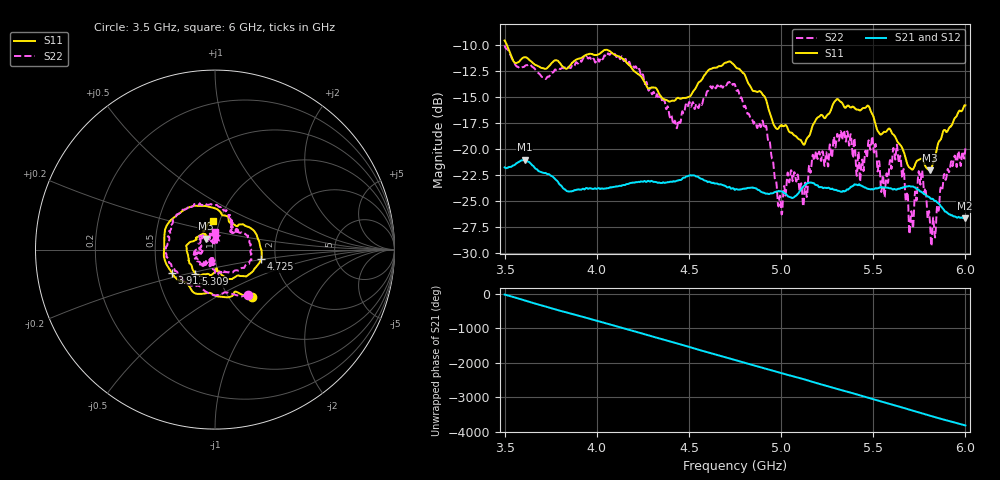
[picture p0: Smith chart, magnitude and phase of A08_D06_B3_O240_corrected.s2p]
! Created with skrf 1.9.0 (http://scikit-rf.org).
# Hz S RI R 50.0
!freq ReS11 ImS11 ReS21 ImS21 ReS12 ImS12 ReS22 ImS22
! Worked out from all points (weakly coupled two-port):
!   1601 points, 3.5 GHz to 6 GHz, reference 50 ohm
!   highest |S21| = -21.05 dB at 3.609 GHz (marker M1); lowest = -26.7 dB at 5.995 GHz (marker M2)
!   lowest |S11| = -22.1 dB at 5.808 GHz (marker M3), VSWR 1.17, Z = 44.9 + j5.44 ohm
!   |S11| at or under -10 dB: 3.513 GHz to end of sweep
!   |S22| runs from -29.4 to -10.0 dB; largest |S21 - S12| = 0.00098
!   S11 on the Smith chart (normalised r, x): 3.5 GHz: 1.27, -0.75; 3.913 GHz: 0.59, -0.16; 4.725 GHz: 1.68, -0.20; 5.309 GHz: 0.78, -0.22; 6 GHz: 0.93, +0.31
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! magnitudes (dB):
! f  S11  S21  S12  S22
! 3.5 GHz  -9.5  -21.8  -21.7  -10.0
! 3.609 GHz  -11.2  -21.1  -21.0  -12.0
! 3.913 GHz  -11.3  -23.9  -23.9  -11.5
! 3.917 GHz  -11.2  -23.9  -23.9  -11.6
! 4.127 GHz  -11.2  -23.6  -23.5  -11.4
! 4.334 GHz  -14.5  -23.3  -23.2  -15.1
! 4.427 GHz  -15.3  -23.1  -23.1  -17.4
! 4.725 GHz  -11.6  -23.8  -23.7  -13.6
! 4.75 GHz  -12.0  -24.0  -23.9  -13.8
! 4.911 GHz  -15.0  -24.3  -24.2  -18.0
! 4.995 GHz  -17.8  -24.1  -24.0  -24.6
! 5.045 GHz  -18.4  -24.6  -24.6  -23.2
! 5.13 GHz  -19.5  -23.5  -23.5  -23.3
! 5.167 GHz  -18.0  -23.3  -23.2  -21.1
! 5.309 GHz  -15.2  -24.0  -24.0  -19.0
! 5.584 GHz  -18.1  -23.8  -23.7  -22.4
! 5.638 GHz  -19.5  -23.8  -23.8  -21.2
! 5.706 GHz  -21.9  -23.6  -23.6  -26.0
! 5.758 GHz  -21.0  -24.1  -24.0  -23.1
! 5.808 GHz  -22.1  -24.7  -24.7  -27.1
! 5.995 GHz  -15.8  -26.7  -26.6  -20.8
! 6 GHz  -15.8  -26.7  -26.6  -20.0
